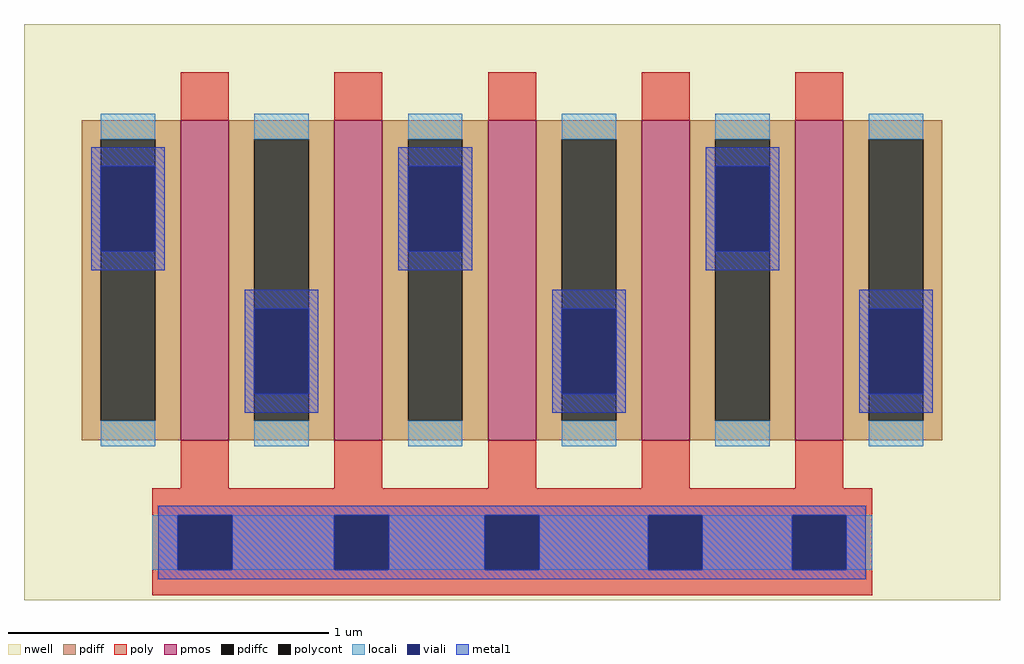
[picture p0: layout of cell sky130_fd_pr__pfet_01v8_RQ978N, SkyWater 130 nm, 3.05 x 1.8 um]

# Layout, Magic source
magic
tech sky130A
magscale 1 2
<< nwell >>
rect -305 -200 305 160
<< pmos >>
rect -207 -100 -177 100
rect -111 -100 -81 100
rect -15 -100 15 100
rect 81 -100 111 100
rect 177 -100 207 100
<< pdiff >>
rect -269 88 -207 100
rect -269 -88 -257 88
rect -223 -88 -207 88
rect -269 -100 -207 -88
rect -177 88 -111 100
rect -177 -88 -161 88
rect -127 -88 -111 88
rect -177 -100 -111 -88
rect -81 88 -15 100
rect -81 -88 -65 88
rect -31 -88 -15 88
rect -81 -100 -15 -88
rect 15 88 81 100
rect 15 -88 31 88
rect 65 -88 81 88
rect 15 -100 81 -88
rect 111 88 177 100
rect 111 -88 127 88
rect 161 -88 177 88
rect 111 -100 177 -88
rect 207 88 269 100
rect 207 -88 223 88
rect 257 -88 269 88
rect 207 -100 269 -88
<< pdiffc >>
rect -257 -88 -223 88
rect -161 -88 -127 88
rect -65 -88 -31 88
rect 31 -88 65 88
rect 127 -88 161 88
rect 223 -88 257 88
<< poly >>
rect -207 100 -177 130
rect -111 100 -81 130
rect -15 100 15 130
rect 81 100 111 130
rect 177 100 207 130
rect -207 -130 -177 -100
rect -111 -130 -81 -100
rect -15 -130 15 -100
rect 81 -130 111 -100
rect 177 -130 207 -100
rect -225 -147 225 -130
rect -225 -181 -209 -147
rect -175 -181 -111 -147
rect -77 -181 -17 -147
rect 17 -181 85 -147
rect 119 -181 175 -147
rect 209 -181 225 -147
rect -225 -197 225 -181
<< polycont >>
rect -209 -181 -175 -147
rect -111 -181 -77 -147
rect -17 -181 17 -147
rect 85 -181 119 -147
rect 175 -181 209 -147
<< locali >>
rect -257 88 -223 104
rect -257 -104 -223 -88
rect -161 88 -127 104
rect -161 -104 -127 -88
rect -65 88 -31 104
rect -65 -104 -31 -88
rect 31 88 65 104
rect 31 -104 65 -88
rect 127 88 161 104
rect 127 -104 161 -88
rect 223 88 257 104
rect 223 -104 257 -88
rect -225 -181 -209 -147
rect -175 -181 -111 -147
rect -77 -181 -17 -147
rect 17 -181 85 -147
rect 119 -181 175 -147
rect 209 -181 225 -147
<< viali >>
rect -257 18 -223 71
rect -161 -71 -127 -18
rect -65 18 -31 71
rect 31 -71 65 -18
rect 127 18 161 71
rect 223 -71 257 -18
rect -209 -181 -175 -147
rect -111 -181 -77 -147
rect -17 -181 17 -147
rect 85 -181 119 -147
rect 175 -181 209 -147
<< metal1 >>
rect -263 71 -217 83
rect -263 18 -257 71
rect -223 18 -217 71
rect -263 6 -217 18
rect -71 71 -25 83
rect -71 18 -65 71
rect -31 18 -25 71
rect -71 6 -25 18
rect 121 71 167 83
rect 121 18 127 71
rect 161 18 167 71
rect 121 6 167 18
rect -167 -18 -121 -6
rect -167 -71 -161 -18
rect -127 -71 -121 -18
rect -167 -83 -121 -71
rect 25 -18 71 -6
rect 25 -71 31 -18
rect 65 -71 71 -18
rect 25 -83 71 -71
rect 217 -18 263 -6
rect 217 -71 223 -18
rect 257 -71 263 -18
rect 217 -83 263 -71
rect -221 -147 221 -141
rect -221 -181 -209 -147
rect -175 -181 -111 -147
rect -77 -181 -17 -147
rect 17 -181 85 -147
rect 119 -181 175 -147
rect 209 -181 221 -147
rect -221 -187 221 -181
<< properties >>
string gencell sky130_fd_pr__pfet_01v8
string library sky130
string parameters w 1.0 l 0.15 m 1 nf 5 diffcov 100 polycov 100 guard 0 glc 1 grc 1 gtc 1 gbc 1 tbcov 100 rlcov 100 topc 1 botc 0 poverlap 0 doverlap 1 lmin 0.15 wmin 0.42 compatible {sky130_fd_pr__pfet_01v8  sky130_fd_pr__pfet_01v8_lvt sky130_fd_pr__pfet_01v8_hvt  sky130_fd_pr__pfet_g5v0d10v5} full_metal 1 viasrc +30 viadrn -30 viagate 100 viagb 0 viagr 0 viagl 0 viagt 0
<< end >>
